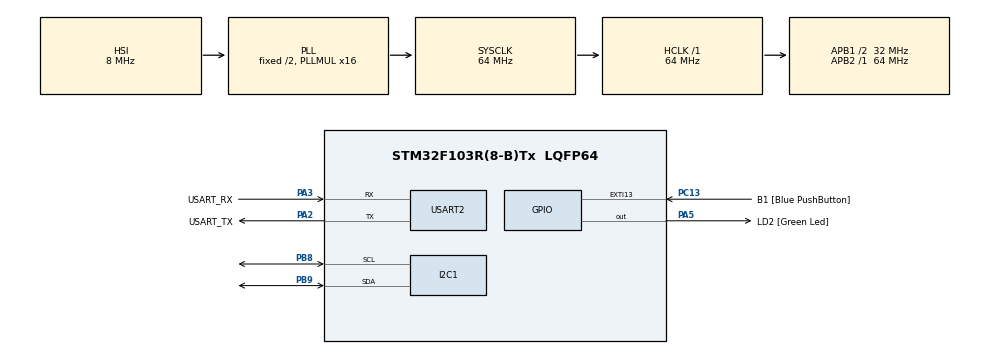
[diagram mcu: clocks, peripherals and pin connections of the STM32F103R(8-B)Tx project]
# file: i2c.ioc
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Mcu.Family=STM32F1
Mcu.Name=STM32F103R(8-B)Tx
Mcu.Package=LQFP64
NVIC.EXTI15_10_IRQn=true\:0\:0\:false\:false\:true\:true\:true\:true
NVIC.PriorityGroup=NVIC_PRIORITYGROUP_4
PA13.GPIO_Label=TMS
PA13.Mode=Serial_Wire
PA13.Signal=SYS_JTMS-SWDIO
PA14.GPIO_Label=TCK
PA14.Mode=Serial_Wire
PA14.Signal=SYS_JTCK-SWCLK
PA2.GPIO_Label=USART_TX
PA2.GPIO_Mode=GPIO_MODE_AF_PP
PA2.GPIO_PuPd=GPIO_NOPULL
PA2.GPIO_Speed=GPIO_SPEED_FREQ_LOW
PA2.Mode=Asynchronous
PA2.Signal=USART2_TX
PA3.GPIO_Label=USART_RX
PA3.GPIO_Mode=GPIO_MODE_AF_PP
PA3.GPIO_PuPd=GPIO_NOPULL
PA3.GPIO_Speed=GPIO_SPEED_FREQ_LOW
PA3.Mode=Asynchronous
PA3.Signal=USART2_RX
PA5.GPIO_Label=LD2 [Green Led]
PA5.GPIO_ModeDefaultOutputPP=GPIO_MODE_OUTPUT_PP
PA5.GPIO_PuPd=GPIO_NOPULL
PA5.GPIO_Speed=GPIO_SPEED_FREQ_LOW
PA5.Signal=GPIO_Output
PB3.GPIO_Label=SWO
PB3.Signal=SYS_JTDO-TRACESWO
PB8.Mode=I2C
PB8.Signal=I2C1_SCL
PB9.Mode=I2C
PB9.Signal=I2C1_SDA
PC13-TAMPER-RTC.GPIO_Label=B1 [Blue PushButton]
PC13-TAMPER-RTC.GPIO_PuPd=GPIO_NOPULL
PC13-TAMPER-RTC.Signal=GPXTI13
PC14-OSC32_IN.Mode=LSE-External-Oscillator
PC14-OSC32_IN.Signal=RCC_OSC32_IN
PC15-OSC32_OUT.Mode=LSE-External-Oscillator
PC15-OSC32_OUT.Signal=RCC_OSC32_OUT
PD0-OSC_IN.Mode=HSE-External-Clock-Source
PD0-OSC_IN.Signal=RCC_OSC_IN
PD1-OSC_OUT.Mode=HSE-External-Clock-Source
PD1-OSC_OUT.Signal=RCC_OSC_OUT
ProjectManager.HeapSize=0x200
ProjectManager.StackSize=0x400
ProjectManager.TargetToolchain=STM32CubeIDE
RCC.AHBFreq_Value=64000000
RCC.APB1CLKDivider=RCC_HCLK_DIV2
RCC.APB1Freq_Value=32000000
RCC.APB1TimFreq_Value=64000000
RCC.APB2Freq_Value=64000000
RCC.APB2TimFreq_Value=64000000
RCC.HCLKFreq_Value=64000000
RCC.PLLMUL=RCC_PLL_MUL16
RCC.RTCClockSelection=RCC_RTCCLKSOURCE_LSE
RCC.SYSCLKFreq_VALUE=64000000
RCC.SYSCLKSource=RCC_SYSCLKSOURCE_PLLCLK
RCC.USBFreq_Value=64000000
USART2.VirtualMode=VM_ASYNC
board=NUCLEO-F103RB

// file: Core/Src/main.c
/* USER CODE BEGIN Header */
/**
  ******************************************************************************
  * @file           : main.c
  * @brief          : Main program body
  ******************************************************************************
  * @attention
  *
  * Copyright (c) 2024 STMicroelectronics.
  * All rights reserved.
  *
  * This software is licensed under terms that can be found in the LICENSE file
  * in the root directory of this software component.
  * If no LICENSE file comes with this software, it is provided AS-IS.
  *
  ******************************************************************************
  */
/* USER CODE END Header */
#include "main.h"

/* USER CODE BEGIN Includes */
#include <stdio.h>
#include <string.h>
/* USER CODE END Includes */

/* USER CODE BEGIN PM */
#define LC1025_DATA_SIZE (25)
/* USER CODE END PM */

I2C_HandleTypeDef hi2c1;

UART_HandleTypeDef huart2;

/* USER CODE BEGIN PV */
static const uint8_t LC1025_ADDR = 0x50 << 1;
/* USER CODE END PV */

void SystemClock_Config(void);
static void MX_GPIO_Init(void);
static void MX_USART2_UART_Init(void);
static void MX_I2C1_Init(void);
/* USER CODE BEGIN PFP */
void FillWithFibonacci(uint8_t *data, uint16_t count);
void WriteUint16LittleEndian(uint8_t *data, uint16_t value, uint16_t indexFromZero);
uint16_t ReadUint16LittleEndian(uint8_t *data, uint16_t indexFromZero);
/* USER CODE END PFP */

/* USER CODE BEGIN 0 */
void FillWithFibonacci(uint8_t *data, uint16_t count)
{
	WriteUint16LittleEndian(data, 0, 0);
	WriteUint16LittleEndian(data, 1, 2);
	for (int i = 2; i < count; i++)
	{
		uint16_t nextValue = ReadUint16LittleEndian(data, (i - 1) * 2) + ReadUint16LittleEndian(data, (i - 2) * 2);
		WriteUint16LittleEndian(data, nextValue, i * 2);
	}
}

void WriteUint16LittleEndian(uint8_t *data, uint16_t value, uint16_t indexFromZero)
{
	data[indexFromZero] = value & 0xff;
	data[indexFromZero + 1] = value >> 8 & 0xff;
}

uint16_t ReadUint16LittleEndian(uint8_t *data, uint16_t indexFromZero)
{
	uint16_t value = 0;
	value |= data[indexFromZero] & 0x00ff;
	value |= data[indexFromZero + 1] << 8 & 0xff00;
	return value;
}
/* USER CODE END 0 */

int main(void)
{

  /* MCU Configuration--------------------------------------------------------*/

  /* Reset of all peripherals, Initializes the Flash interface and the Systick. */
  HAL_Init();

  /* Configure the system clock */
  SystemClock_Config();

  /* Initialize all configured peripherals */
  MX_GPIO_Init();
  MX_USART2_UART_Init();
  MX_I2C1_Init();
  /* USER CODE BEGIN 2 */
  HAL_StatusTypeDef result;
  uint8_t data[LC1025_DATA_SIZE * sizeof(uint16_t)];
  uint8_t dataReceive[LC1025_DATA_SIZE * sizeof(uint16_t)];
  uint16_t readableDataReceive[LC1025_DATA_SIZE];
  FillWithFibonacci(data, LC1025_DATA_SIZE);
  uint16_t chunkSize = 5;
  uint16_t currentIndex = 0;
  char messageBuffer[256] = {};
  /* USER CODE END 2 */

  /* Infinite loop */
  /* USER CODE BEGIN WHILE */
  while (1)
  {
	if (currentIndex > LC1025_DATA_SIZE)
	{
		return 0;
	}

	result = HAL_I2C_Mem_Write(&hi2c1, LC1025_ADDR, 0, I2C_MEMADD_SIZE_16BIT, data + currentIndex * 2, chunkSize * 2, HAL_MAX_DELAY);
	if (result != HAL_OK)
	{
		uint32_t code = HAL_I2C_GetError(&hi2c1);
		sprintf(messageBuffer, "Error writing: code %lu \r\n", code);
		HAL_UART_Transmit(&huart2, (uint8_t*)messageBuffer, strlen((char*)messageBuffer), HAL_MAX_DELAY);
	}
	HAL_Delay(20);
	result = HAL_I2C_Mem_Read(&hi2c1, LC1025_ADDR, 0, I2C_MEMADD_SIZE_16BIT, dataReceive + currentIndex * 2, chunkSize * 2, HAL_MAX_DELAY);
	if (result != HAL_OK)
	{
		uint32_t code = HAL_I2C_GetError(&hi2c1);
		sprintf(messageBuffer, "Error reading: code %lu \r\n", code);
		HAL_UART_Transmit(&huart2, (uint8_t*)messageBuffer, strlen((char*)messageBuffer), HAL_MAX_DELAY);
	}

	for (int i = 0; i < chunkSize && currentIndex < LC1025_DATA_SIZE; i++)
	{
		readableDataReceive[currentIndex + i] = ReadUint16LittleEndian(data, (currentIndex + i) * 2);
		sprintf(messageBuffer, "Value %u: %u \r\n", currentIndex + i, readableDataReceive[currentIndex + i]);
		HAL_UART_Transmit(&huart2, (uint8_t*)messageBuffer, strlen((char*)messageBuffer), HAL_MAX_DELAY);
	}

	currentIndex += chunkSize;
    /* USER CODE END WHILE */

  }
}

void SystemClock_Config(void)
{
  RCC_OscInitTypeDef RCC_OscInitStruct = {0};
  RCC_ClkInitTypeDef RCC_ClkInitStruct = {0};

  /** Initializes the RCC Oscillators according to the specified parameters
  * in the RCC_OscInitTypeDef structure.
  */
  RCC_OscInitStruct.OscillatorType = RCC_OSCILLATORTYPE_HSI;
  RCC_OscInitStruct.HSIState = RCC_HSI_ON;
  RCC_OscInitStruct.HSICalibrationValue = RCC_HSICALIBRATION_DEFAULT;
  RCC_OscInitStruct.PLL.PLLState = RCC_PLL_ON;
  RCC_OscInitStruct.PLL.PLLSource = RCC_PLLSOURCE_HSI_DIV2;
  RCC_OscInitStruct.PLL.PLLMUL = RCC_PLL_MUL16;
  if (HAL_RCC_OscConfig(&RCC_OscInitStruct) != HAL_OK)
  {
    Error_Handler();
  }

  /** Initializes the CPU, AHB and APB buses clocks
  */
  RCC_ClkInitStruct.ClockType = RCC_CLOCKTYPE_HCLK|RCC_CLOCKTYPE_SYSCLK
                              |RCC_CLOCKTYPE_PCLK1|RCC_CLOCKTYPE_PCLK2;
  RCC_ClkInitStruct.SYSCLKSource = RCC_SYSCLKSOURCE_PLLCLK;
  RCC_ClkInitStruct.AHBCLKDivider = RCC_SYSCLK_DIV1;
  RCC_ClkInitStruct.APB1CLKDivider = RCC_HCLK_DIV2;
  RCC_ClkInitStruct.APB2CLKDivider = RCC_HCLK_DIV1;

  if (HAL_RCC_ClockConfig(&RCC_ClkInitStruct, FLASH_LATENCY_2) != HAL_OK)
  {
    Error_Handler();
  }
}

static void MX_I2C1_Init(void)
{

  hi2c1.Instance = I2C1;
  hi2c1.Init.ClockSpeed = 100000;
  hi2c1.Init.DutyCycle = I2C_DUTYCYCLE_2;
  hi2c1.Init.OwnAddress1 = 0;
  hi2c1.Init.AddressingMode = I2C_ADDRESSINGMODE_7BIT;
  hi2c1.Init.DualAddressMode = I2C_DUALADDRESS_DISABLE;
  hi2c1.Init.OwnAddress2 = 0;
  hi2c1.Init.GeneralCallMode = I2C_GENERALCALL_DISABLE;
  hi2c1.Init.NoStretchMode = I2C_NOSTRETCH_DISABLE;
  if (HAL_I2C_Init(&hi2c1) != HAL_OK)
  {
    Error_Handler();
  }

}

static void MX_USART2_UART_Init(void)
{

  huart2.Instance = USART2;
  huart2.Init.BaudRate = 115200;
  huart2.Init.WordLength = UART_WORDLENGTH_8B;
  huart2.Init.StopBits = UART_STOPBITS_1;
  huart2.Init.Parity = UART_PARITY_NONE;
  huart2.Init.Mode = UART_MODE_TX_RX;
  huart2.Init.HwFlowCtl = UART_HWCONTROL_NONE;
  huart2.Init.OverSampling = UART_OVERSAMPLING_16;
  if (HAL_UART_Init(&huart2) != HAL_OK)
  {
    Error_Handler();
  }

}

static void MX_GPIO_Init(void)
{
  GPIO_InitTypeDef GPIO_InitStruct = {0};

  /* GPIO Ports Clock Enable */
  __HAL_RCC_GPIOC_CLK_ENABLE();
  __HAL_RCC_GPIOD_CLK_ENABLE();
  __HAL_RCC_GPIOA_CLK_ENABLE();
  __HAL_RCC_GPIOB_CLK_ENABLE();

  /*Configure GPIO pin Output Level */
  HAL_GPIO_WritePin(LD2_GPIO_Port, LD2_Pin, GPIO_PIN_RESET);

  /*Configure GPIO pin : B1_Pin */
  GPIO_InitStruct.Pin = B1_Pin;
  GPIO_InitStruct.Mode = GPIO_MODE_IT_RISING;
  GPIO_InitStruct.Pull = GPIO_NOPULL;
  HAL_GPIO_Init(B1_GPIO_Port, &GPIO_InitStruct);

  /*Configure GPIO pin : LD2_Pin */
  GPIO_InitStruct.Pin = LD2_Pin;
  GPIO_InitStruct.Mode = GPIO_MODE_OUTPUT_PP;
  GPIO_InitStruct.Pull = GPIO_NOPULL;
  GPIO_InitStruct.Speed = GPIO_SPEED_FREQ_LOW;
  HAL_GPIO_Init(LD2_GPIO_Port, &GPIO_InitStruct);

  /* EXTI interrupt init*/
  HAL_NVIC_SetPriority(EXTI15_10_IRQn, 0, 0);
  HAL_NVIC_EnableIRQ(EXTI15_10_IRQn);

}

void Error_Handler(void)
{
  __disable_irq();
  while (1)
  {
  }
}
